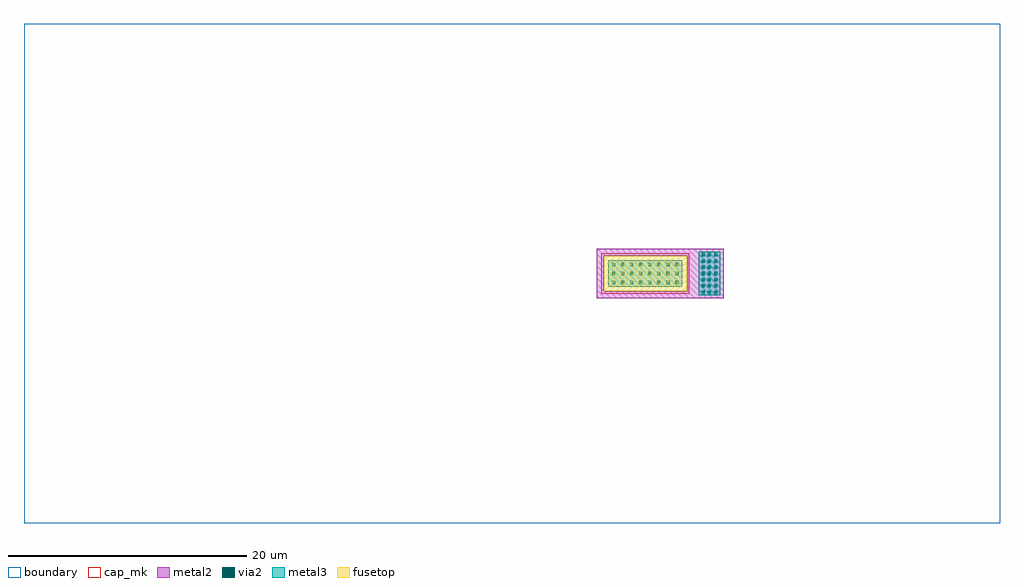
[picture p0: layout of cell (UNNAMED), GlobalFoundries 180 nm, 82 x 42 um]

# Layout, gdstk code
import gdstk
lib = gdstk.Library(unit=1e-6, precision=1e-09)
def R(c, l, rs):  # rectangles x0, y0, x1, y1
    for r in rs: c.add(gdstk.rectangle(r[:2], r[2:], *l))
def A(c, l, x, y, w, h, nx, ny, dx, dy):  # array of equal rectangles
    R(c, l, [(x+i*dx, y+j*dy, x+i*dx+w, y+j*dy+h) for i in range(nx) for j in range(ny)])
boundary = (0, 0)
metal2 = (36, 0)
via2 = (38, 0)
metal3 = (42, 0)
fusetop = (75, 0)
cap_mk = (117, 5)

c__unnamed_ = lib.new_cell('(UNNAMED)')
R(c__unnamed_, boundary, [(-53.45,-21,28.55,21)])
R(c__unnamed_, metal2, [(-5.345,-2.1,5.345,-1.5), (-5.345,-1.5,-4.745,1.5), (2.255,-1.5,5.345,1.5), (-5.345,1.5,5.345,2.1)])
A(c__unnamed_, via2, 3.485, -1.69, 0.26, 0.26, 3, 7, 0.52, 0.52)
A(c__unnamed_, via2, -4.035, -0.89, 0.26, 0.26, 8, 3, 0.76, 0.76)
R(c__unnamed_, metal3, [(3.235,-1.845,5.035,1.845), (-4.345,-1.1,1.855,1.1)])
R(c__unnamed_, fusetop, [(-4.745,-1.5,2.255,1.5)])
R(c__unnamed_, cap_mk, [(-4.945,-1.7,2.455,1.7)])

lib.write_gds('_UNNAMED_.gds')
